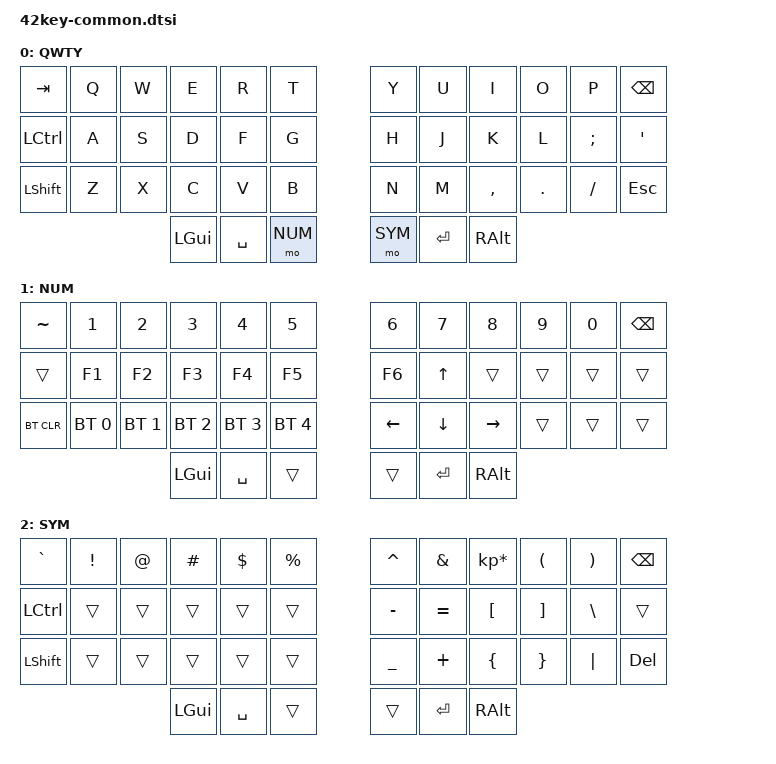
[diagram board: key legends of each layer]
#define DEFAULT 0
#define NUM     1
#define SYM     2

#include "key-common.dtsi"

&mt {
   flavor = "tap-preferred";
   tapping_term_ms = <200>;
};

/ {
    keymap {
        compatible = "zmk,keymap";

        default_layer {
          label = "QWTY";
// -----------------------------------------------------------------------------------------
// |  TAB |  Q  |  W  |  E  |  R  |  T  |   |  Y  |  U   |  I  |  O  |  P  | BKSP |
// | CTRL |  A  |  S  |  D  |  F  |  G  |   |  H  |  J   |  K  |  L  |  ;  |  '   |
// | SHFT |  Z  |  X  |  C  |  V  |  B  |   |  N  |  M   |  ,  |  .  |  /  | ESC  |
//                    | GUI | SPC | LWR |   | RSE | ENT  | ALT |
                        bindings = <
   &kp TAB   &kp Q &kp W &kp E &kp R &kp T   &kp Y &kp U  &kp I     &kp O   &kp P    &kp BSPC
   &kp LCTRL &kp A &kp S &kp D &kp F &kp G   &kp H &kp J  &kp K     &kp L   &kp SEMI &kp SQT
   &kp LSHFT &kp Z &kp X &kp C &kp V &kp B   &kp N &kp M  &kp COMMA &kp DOT &kp FSLH &kp ESC
                  &kp LGUI &kp SPACE &mo NUM   &mo SYM &kp RET &kp RALT
                        >;
                };
        lower_layer {
          label = "NUM";
// -----------------------------------------------------------------------------------------
// |  ~   |  1  |  2  |  3  |  4  |  5  |   |  6  |  7  |  8  |  9  |  0  | BKSP |
// |      | F1  | F2  | F3  | F4  | F5  |   | F6  | UP  |     |     |     |      |
// | BTCLR| BT1 | BT2 | BT3 | BT4 | BT5 |   | LFT | DWN | RGT |     |     |      |
//                    | GUI | SPC |     |   |     | ENT | ALT |
                        bindings = <
   &kp TILDE    &kp N1       &kp N2       &kp N3       &kp N4       &kp N5         &kp N6   &kp N7   &kp N8 &kp N9    &kp N0 &kp BSPC
   &trans &kp F1 &kp F2 &kp F3 &kp F4 &kp F5  &kp F6 &kp UP &trans &trans &trans &trans
   &bt BT_CLR  &bt BT_SEL 0 &bt BT_SEL 1 &bt BT_SEL 2  &bt BT_SEL 3  &bt BT_SEL 4  &kp LEFT &kp DOWN &kp RIGHT &trans  &trans &trans
                          &kp LGUI &kp SPACE &trans          &trans  &kp RET  &kp RALT
                        >;
                };

                raise_layer {
                        label = "SYM";
// -----------------------------------------------------------------------------------------
// |  `   |  !  |  @  |  #  |  $  |  %  |   |  ^  |  &  |  *  |  (  |  )  | BKSP |
// | CTRL |     |     |     |     |     |   |  -  |  =  |  [  |  ]  |  \  |      |
// | SHFT |     |     |     |     |     |   |  _  |  +  |  {  |  }  | "|" |  DEL |
//                    | GUI | SPC |     |   |     | ENT | ALT |
                        bindings = <
   &kp GRAVE  &kp EXCL &kp AT &kp HASH &kp DLLR &kp PRCNT   &kp CARET &kp AMPS  &kp KP_MULTIPLY &kp LPAR &kp RPAR &kp BSPC
   &kp LCTRL &trans   &trans &trans   &trans   &trans      &kp MINUS &kp EQUAL &kp LBKT        &kp RBKT &kp BSLH &trans
   &kp LSHFT &trans   &trans &trans   &trans   &trans      &kp UNDER &kp PLUS  &kp LBRC        &kp RBRC &kp PIPE &kp DEL
                           &kp LGUI &kp SPACE &trans       &trans &kp RET &kp RALT
                        >;
                };
        };
};
